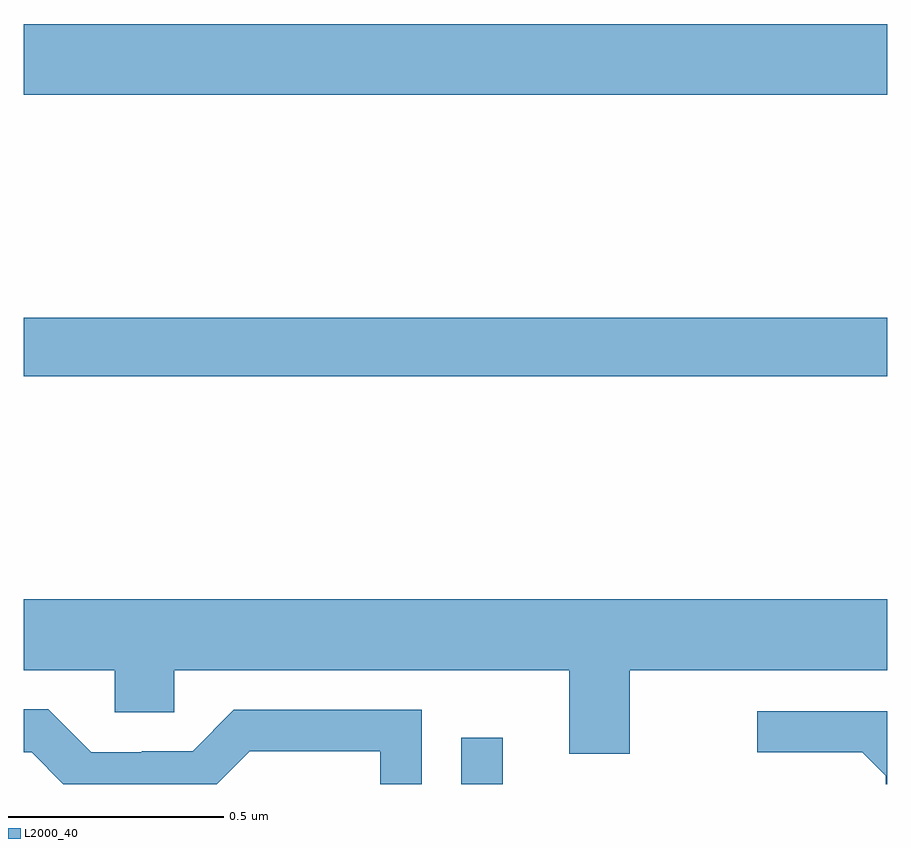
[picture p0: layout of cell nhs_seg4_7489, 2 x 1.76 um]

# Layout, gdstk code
import gdstk
lib = gdstk.Library(unit=1e-6, precision=1e-09)
def R(c, l, rs):  # rectangles x0, y0, x1, y1
    for r in rs: c.add(gdstk.rectangle(r[:2], r[2:], *l))
def P(c, l, *ps):  # polygons
    for p in ps: c.add(gdstk.Polygon(p, *l))
L2000_40 = (2000, 40)

nhs_seg4_7489 = lib.new_cell('nhs_seg4_7489')
R(nhs_seg4_7489, L2000_40, [(204.013,785.9,204.109,786.007), (203,786.844,205,786.98), (203,787.496,205,787.66)])
P(nhs_seg4_7489, L2000_40, [(204.403,786.164),(205,786.164),(205,786.328),(203,786.328),(203,786.164),(203.211,786.164),(203.211,786.066),(203.349,786.066),(203.349,786.164),(204.263,786.164),(204.263,785.97),(204.403,785.97)],
  [(203.523,785.976),(203.826,785.976),(203.826,785.9),(203.922,785.9),(203.922,786.072),(203.487,786.072),(203.391,785.976),(203.273,785.976),(203.273,785.973),(203.157,785.973),(203.057,786.073),(203,786.073),(203,785.973),(203.019,785.973),(203.092,785.9),(203.447,785.9)],
  [(205,786.068),(204.999,786.069),(204.699,786.069),(204.699,785.973),(204.942,785.973),(204.996,785.919),(204.996,785.9),(205,785.9)])

lib.write_gds('nhs_seg4_7489.gds')
